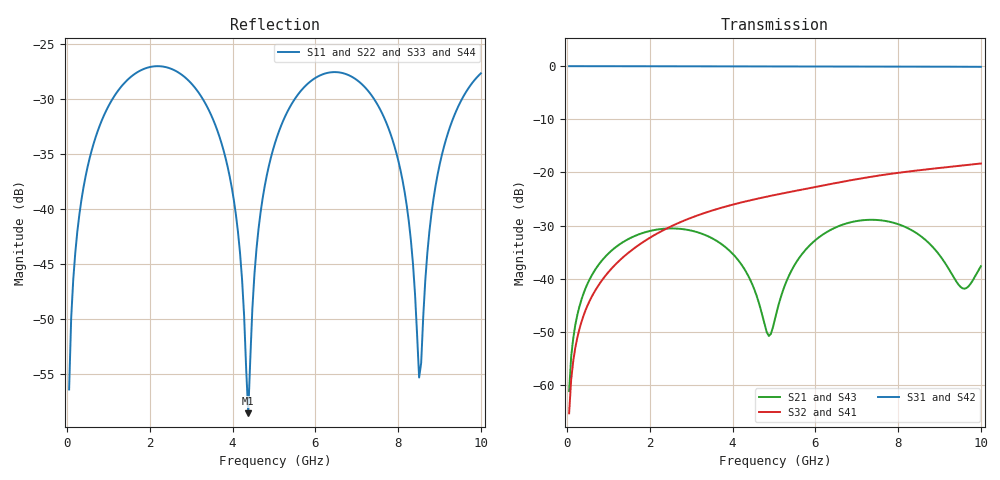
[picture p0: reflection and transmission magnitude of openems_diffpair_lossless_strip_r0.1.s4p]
! openEMS, openems_diffpair_lossless_strip_r0.1, 396800 cells, ports P1 N1 P2 N2
# GHz S RI R 50
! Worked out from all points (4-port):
!   201 points, 50 MHz to 10 GHz, reference 50 ohm
!   strongest paths, dB at 50 MHz, 2.538 GHz, 5.025 GHz, 7.513 GHz, 10 GHz:
!     S31: 0.0, 0.0, 0.0, -0.1, -0.1
!     S42: 0.0, 0.0, 0.0, -0.1, -0.1
!     S32: -65.3, -30.1, -24.2, -20.6, -18.3
!     S41: -65.3, -30.1, -24.2, -20.6, -18.3
!     S21: -61.2, -30.5, -47.6, -29.0, -37.6
!     S43: -61.2, -30.5, -47.6, -29.0, -37.6
!   lowest |S11| = -58.5 dB at 4.378 GHz (marker M1), VSWR 1.00, Z = 49.9 + j0.0252 ohm
!   |S11| at or under -10 dB: start of sweep to end of sweep
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0.05  0.000217 -0.0015  -5.28e-05 0.000874  0.9992 -0.0355  2.77e-05 -0.00054
      -5.24e-05 0.000873  0.00022 -0.0015  2.78e-05 -0.00054  0.9992 -0.0355
      0.9992 -0.0355  2.77e-05 -0.00054  0.00022 -0.0015  -5.28e-05 0.000874
      2.75e-05 -0.00054  0.9992 -0.0355  -5.29e-05 0.000874  0.000219 -0.0015
2.28875  -0.0435 0.0097  0.0294 -0.000372  -0.0531 -0.9964  -0.0281 0.000254
         0.0294 -0.000372  -0.0435 0.0097  -0.0281 0.000254  -0.0531 -0.9964
         -0.0531 -0.9964  -0.0281 0.000254  -0.0435 0.0097  0.0294 -0.000372
         -0.0281 0.000254  -0.0531 -0.9964  0.0294 -0.000372  -0.0435 0.0097
4.37825  -0.00115 0.000253  -0.0012 -0.0106  -0.9964 -0.0311  -0.000808 0.0541
         -0.0012 -0.0106  -0.00115 0.000253  -0.000808 0.0541  -0.9964 -0.0311
         -0.9964 -0.0311  -0.000808 0.0541  -0.00115 0.000253  -0.0012 -0.0106
         -0.000808 0.0541  -0.9964 -0.0311  -0.0012 -0.0106  -0.00115 0.000253
5.025  -0.0157 -0.0123  -0.0018 0.00378  -0.9049 0.4154  0.0266 0.0553
       -0.0018 0.00378  -0.0157 -0.0123  0.0266 0.0553  -0.9049 0.4154
       -0.9049 0.4154  0.0266 0.0553  -0.0157 -0.0123  -0.0018 0.00378
       0.0266 0.0553  -0.9049 0.4154  -0.0018 0.00378  -0.0157 -0.0123
6.86575  -0.0289 0.0278  0.0339 -0.00329  0.1728 0.977  0.0832 -0.0149
         0.0339 -0.00329  -0.0289 0.0278  0.0832 -0.0149  0.1728 0.977
         0.1728 0.977  0.0832 -0.0149  -0.0289 0.0278  0.0339 -0.00329
         0.0832 -0.0149  0.1728 0.977  0.0339 -0.00329  -0.0289 0.0278
8.5075  0.00169 -0.0003  0.000919 -0.0258  0.9672 0.2119  0.0202 -0.1029
        0.000919 -0.0258  0.00169 -0.0003  0.0202 -0.1029  0.9672 0.2119
        0.9672 0.2119  0.0202 -0.1029  0.00169 -0.0003  0.000919 -0.0258
        0.0202 -0.1029  0.9672 0.2119  0.000919 -0.0258  0.00169 -0.0003
10  -0.0412 0.00429  0.00261 0.0128  0.6409 -0.7489  -0.0933 -0.0777
    0.00261 0.0128  -0.0412 0.00429  -0.0933 -0.0777  0.6409 -0.7489
    0.6409 -0.7489  -0.0933 -0.0777  -0.0412 0.00429  0.00261 0.0128
    -0.0933 -0.0777  0.6409 -0.7489  0.00261 0.0128  -0.0412 0.00429
